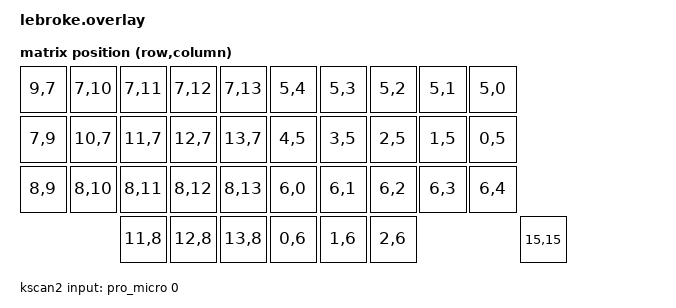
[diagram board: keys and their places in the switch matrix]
#include <dt-bindings/zmk/matrix_transform.h>
#include "lebroke-layouts.dtsi"

/ {
    chosen {
        zmk,physical-layout = &lebroke_physical_layout;
    };
};

/ {

    kscan0: kscan_composite {
        compatible = "zmk,kscan-composite";
        rows = <4>;
        columns = <10>;

        // Include the charlieplex driver
        charlieplex {
            kscan = <&kscan1>;
        };

        // Include the matrix driver...
        matrix {
            kscan = <&kscan2>;
            row-offset = <15>; // ...and offset it to not overlap
    	    col-offset = <15>;
        };
    };

    kscan1: kscan_charlieplex {
        compatible = "zmk,kscan-gpio-charlieplex";

        gpios

	    =       <&pro_micro 3 GPIO_ACTIVE_HIGH>  // 0, col 4 (9)
            ,   <&pro_micro 4 GPIO_ACTIVE_HIGH>  // 1, col 3 (8)
            ,   <&pro_micro 5 GPIO_ACTIVE_HIGH>  // 2, col 2 (7)
            ,   <&pro_micro 6 GPIO_ACTIVE_HIGH>  // 3, col 1 (6)
            ,   <&pro_micro 7 GPIO_ACTIVE_HIGH>  // 4, col 0 (5)
            ,   <&pro_micro 8 GPIO_ACTIVE_HIGH>  // 5, row 0 (2)
            ,   <&pro_micro 9 GPIO_ACTIVE_HIGH>  // 6, row 1 (3)
            ,   <&pro_micro 10 GPIO_ACTIVE_HIGH> // 7, row 0
            ,   <&pro_micro 16 GPIO_ACTIVE_HIGH> // 8, row 1
            ,   <&pro_micro 14 GPIO_ACTIVE_HIGH> // 9, col 0
            ,   <&pro_micro 15 GPIO_ACTIVE_HIGH> // 10, col 1
            ,   <&pro_micro 18 GPIO_ACTIVE_HIGH> // 11, col 2
            ,   <&pro_micro 19 GPIO_ACTIVE_HIGH> // 12, col 3
            ,   <&pro_micro 20 GPIO_ACTIVE_HIGH> // 13, col 4
            ;
    };
    
    kscan2: kscan_direct {
        compatible = "zmk,kscan-gpio-direct";
        wakeup-source;
        input-gpios
            = <&pro_micro 0 (GPIO_ACTIVE_HIGH | GPIO_PULL_UP)> // 0 but 15 after shift
            ;
    };
};



/ {
    default_transform: keymap_transform0 {
        compatible = "zmk,matrix-transform";
        columns = <10>; // Length of the "col-gpios" array
        rows = <4>; // Length of the "row-gpios" array
        map = <
        // row 0                                        row 2
        RC(9,7)  RC(7,10) RC(7,11) RC(7,12) RC(7,13)    RC(5,4) RC(5,3) RC(5,2) RC(5,1) RC(5,0)
	    RC(7,9)  RC(10,7) RC(11,7) RC(12,7) RC(13,7)    RC(4,5) RC(3,5) RC(2,5) RC(1,5) RC(0,5)

        // row 1                                        row 3
	    RC(8,9)  RC(8,10) RC(8,11) RC(8,12) RC(8,13)    RC(6,0) RC(6,1) RC(6,2) RC(6,3) RC(6,4)
	                      RC(11,8) RC(12,8) RC(13,8)    RC(0,6) RC(1,6) RC(2,6)                 RC(15,15) // soft off
        >;
    };
};
